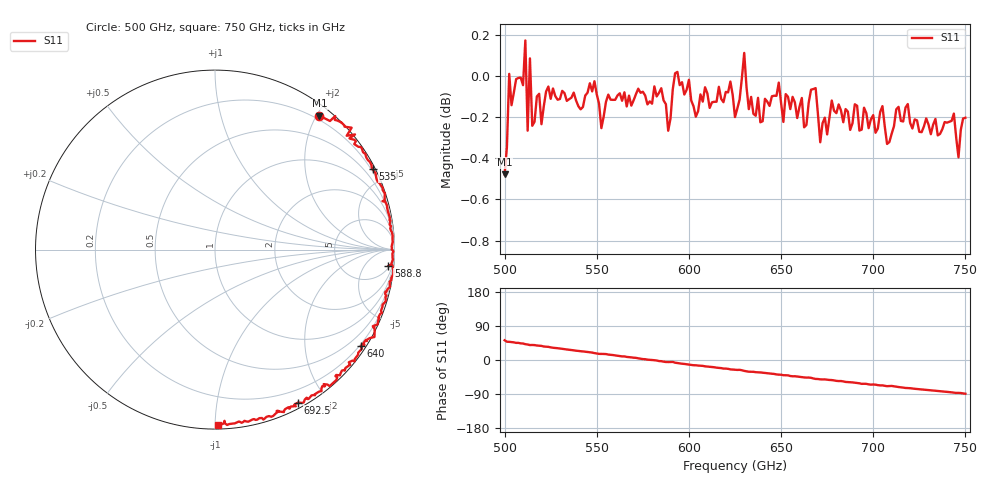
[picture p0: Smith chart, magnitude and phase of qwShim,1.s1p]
!Created with mwavepy.
# GHz S RI R 50.0
!freq	ReS11	ImS11
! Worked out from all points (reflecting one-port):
!   201 points, 500 GHz to 750 GHz, reference 50 ohm
!   lowest |S11| = -0.5 dB at 500 GHz (marker M1), VSWR 36.31, Z = 7.13 + j102 ohm
!   phase of S11 starts at 52 deg and turns -141 deg over the sweep
!   S11 on the Smith chart (normalised r, x): 500 GHz: 0.14, +2.04; 535 GHz: 0.12, +4.15; 588.8 GHz: 6, -19; 640 GHz: 0.15, -3.31; 692.5 GHz: 0.06, -1.68; 750 GHz: 0.02, -1.02
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500  0.5818 0.7464
! Port Impedance 50.00000000000000 0.00000000000000
501.25  0.6405 0.7164
502.5  0.6698 0.7442
510  0.7217 0.6848
511.25  0.7612 0.679
512.5  0.7338 0.6342
513.75  0.78 0.6415
516.25  0.7543 0.6173
531.25  0.8635 0.4877
535  0.8788 0.4496
562.5  0.9739 0.1796
581.25  0.9942 -0.00976
588.75  0.9656 -0.0909
591.25  0.9888 -0.0877
593.75  0.9925 -0.1395
625  0.8794 -0.4264
627.5  0.8876 -0.4316
630  0.8884 -0.4868
632.5  0.8421 -0.5045
640  0.8126 -0.5389
656.25  0.7228 -0.6741
665  0.6808 -0.7122
668.75  0.6388 -0.7606
687.5  0.511 -0.8248
692.5  0.4631 -0.8522
710  0.3559 -0.9004
718.75  0.2691 -0.9469
750  0.0164 -0.9768
